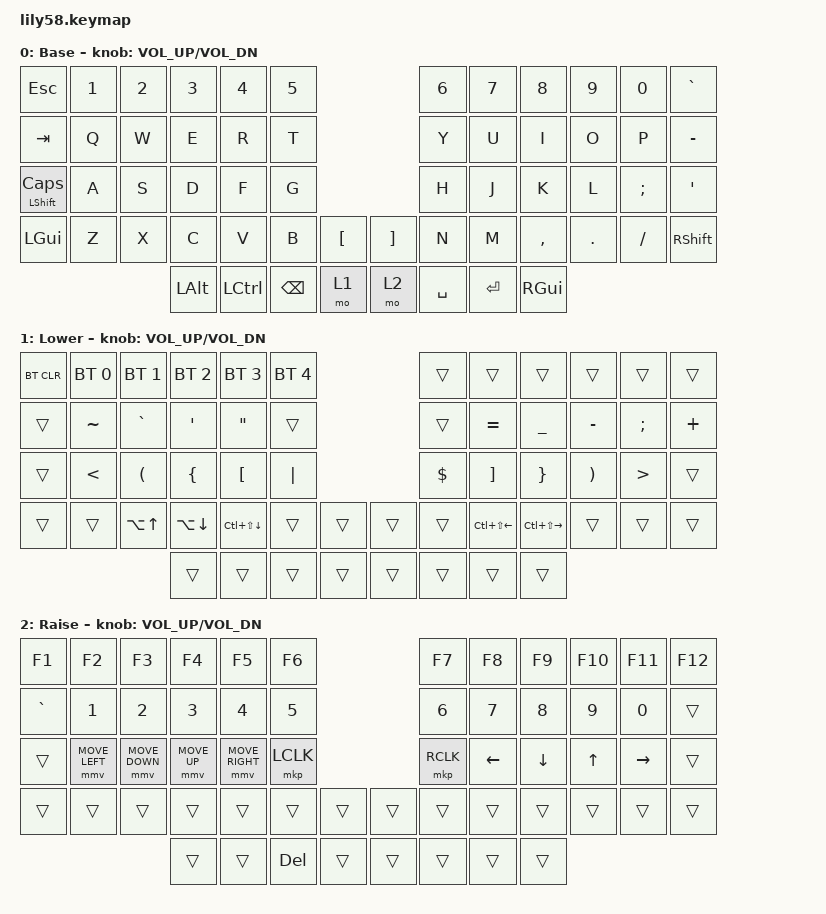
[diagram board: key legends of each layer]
/*
 * Copyright (c) 2020 The ZMK Contributors
 *
 * SPDX-License-Identifier: MIT
 */

#include <behaviors.dtsi>
#include <dt-bindings/zmk/bt.h>
#include <dt-bindings/zmk/keys.h>
#include <dt-bindings/zmk/pointing.h>

&caps_word {
};

&mmv { time-to-max-speed-ms = <150>; };

/ {
    keymap {
        compatible = "zmk,keymap";

        default_layer {
            // ------------------------------------------------------------------------------------------------------------
            // |  ESC  |  1  |  2  |  3   |  4   |  5   |                   |  6   |  7    |  8    |  9   |   0   |   `   |
            // |  TAB  |  Q  |  W  |  E   |  R   |  T   |                   |  Y   |  U    |  I    |  O   |   P   |   -   |
            // |  CTRL |  A  |  S  |  D   |  F   |  G   |                   |  H   |  J    |  K    |  L   |   ;   |   '   |
            // | SHIFT |  Z  |  X  |  C   |  V   |  B   |   "["  |  |  "]"  |  N   |  M    |  ,    |  .   |   /   | SHIFT |
            //                     | ALT  | GUI  | LOWER|  SPACE |  | ENTER | RAISE| BSPC  | GUI   |

            display-name = "Base";
            bindings = <
&kp ESC                  &kp N1  &kp N2  &kp N3    &kp N4     &kp N5                               &kp N6     &kp N7      &kp N8     &kp N9   &kp N0    &kp GRAVE
&kp TAB                  &kp Q   &kp W   &kp E     &kp R      &kp T                                &kp Y      &kp U       &kp I      &kp O    &kp P     &kp MINUS
&mt LEFT_SHIFT CAPSLOCK  &kp A   &kp S   &kp D     &kp F      &kp G                                &kp H      &kp J       &kp K      &kp L    &kp SEMI  &kp SQT
&kp LEFT_GUI             &kp Z   &kp X   &kp C     &kp V      &kp B          &kp LBKT    &kp RBKT  &kp N      &kp M       &kp COMMA  &kp DOT  &kp FSLH  &kp RSHFT
                                         &kp LALT  &kp LCTRL  &kp BACKSPACE  &mo 1       &mo 2     &kp SPACE  &kp RETURN  &kp RGUI
            >;

            sensor-bindings = <&inc_dec_kp C_VOL_UP C_VOL_DN>;
        };

        lower_layer {
            // ------------------------------------------------------------------------------------------------------------
            // | BTCLR | BT1 | BT2 |  BT3 |  BT4 |  BT5 |                   |      |       |       |      |       |       |
            // |  F1   |  F2 |  F3 |  F4  |  F5  |  F6  |                   |  F7  |  F8   |  F9   |  F10 |  F11  |  F12  |
            // |   `   |  !  |  @  |  #   |  $   |  %   |                   |  ^   |  &    |  *    |  (   |   )   |   ~   |
            // |       |     |     |      |      |      |        |  |       |      |  _    |  +    |  {   |   }   |  "|"  |
            //                     |      |      |      |        |  |       |      |       |       |

            display-name = "Lower";
            bindings = <
&bt BT_CLR  &bt BT_SEL 0   &bt BT_SEL 1          &bt BT_SEL 2    &bt BT_SEL 3       &bt BT_SEL 4                    &trans      &trans                  &trans             &trans                 &trans            &trans
&trans      &kp TILDE      &kp GRAVE             &kp SQT         &kp DOUBLE_QUOTES  &trans                          &trans      &kp EQUAL               &kp UNDERSCORE     &kp MINUS              &kp SEMICOLON     &kp PLUS
&trans      &kp LESS_THAN  &kp LEFT_PARENTHESIS  &kp LEFT_BRACE  &kp LEFT_BRACKET   &kp PIPE                        &kp DOLLAR  &kp RIGHT_BRACKET       &kp RIGHT_BRACE    &kp RIGHT_PARENTHESIS  &kp GREATER_THAN  &trans
&trans      &trans         &kp LA(UP_ARROW)      &kp LA(DOWN)    &kp LC(LS(DOWN))   &trans        &trans    &trans  &trans      &kp LC(LS(LEFT_ARROW))  &kp LC(LS(RIGHT))  &trans                 &trans            &trans
                                                 &trans          &trans             &trans        &trans    &trans  &trans      &trans                  &trans
            >;

            sensor-bindings = <&inc_dec_kp C_VOL_UP C_VOL_DN>;
        };

        raise_layer {
            // ------------------------------------------------------------------------------------------------------------
            // |       |     |     |      |      |      |                   |      |       |       |      |       |       |
            // |   `   |  1  |  2  |  3   |  4   |  5   |                   |  6   |   7   |   8   |  9   |   0   |       |
            // |   F1  |  F2 |  F3 |  F4  |  F5  |  F6  |                   |      |   <-  |   v   |  ^   |  ->   |       |
            // |   F7  |  F8 |  F9 |  F10 |  F11 |  F12 |        |  |       |  +   |   -   |   =   |  [   |   ]   |   \   |
            //                     |      |      |      |        |  |       |      |       |       |

            display-name = "Raise";
            bindings = <
&kp F1     &kp F2          &kp F3          &kp F4        &kp F5           &kp F6                        &kp F7     &kp F8    &kp F9    &kp F10  &kp F11    &kp F12
&kp GRAVE  &kp N1          &kp N2          &kp N3        &kp N4           &kp N5                        &kp N6     &kp N7    &kp N8    &kp N9   &kp N0     &trans
&trans     &mmv MOVE_LEFT  &mmv MOVE_DOWN  &mmv MOVE_UP  &mmv MOVE_RIGHT  &mkp LCLK                     &mkp RCLK  &kp LEFT  &kp DOWN  &kp UP   &kp RIGHT  &trans
&trans     &trans          &trans          &trans        &trans           &trans      &trans    &trans  &trans     &trans    &trans    &trans   &trans     &trans
                                           &trans        &trans           &kp DELETE  &trans    &trans  &trans     &trans    &trans
            >;

            sensor-bindings = <&inc_dec_kp C_VOL_UP C_VOL_DN>;
        };

        extra_1 { status = "reserved"; };

        extra_2 { status = "reserved"; };

        extra_3 { status = "reserved"; };
    };
};
